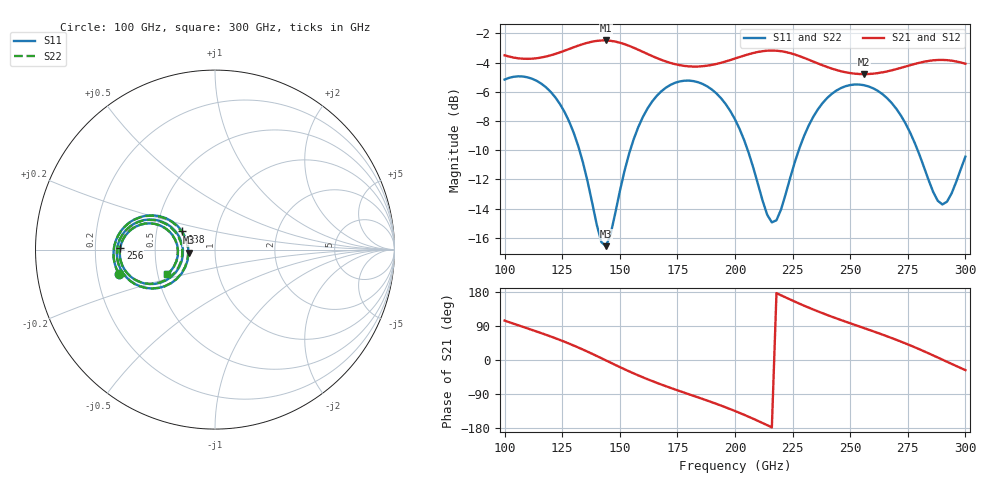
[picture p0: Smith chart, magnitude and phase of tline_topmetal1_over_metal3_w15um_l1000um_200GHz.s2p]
#  GHZ S DB R 50
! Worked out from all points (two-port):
!   101 points, 100 GHz to 300 GHz, reference 50 ohm
!   highest |S21| = -2.48 dB at 144 GHz (marker M1); lowest = -4.8 dB at 256 GHz (marker M2)
!   |S21| within 3 dB of the highest: start of sweep to end of sweep
!   lowest |S11| = -16.6 dB at 144 GHz (marker M3), VSWR 1.35, Z = 37.1 - j1.27 ohm
!   |S11| at or under -10 dB: 132.5 GHz to 154.5 GHz (22.05 GHz wide, 15.4 % of centre); 205.5 GHz to 227.7 GHz (22.17 GHz wide, 10.2 % of centre); 279.3 GHz to end of sweep
!   |S22| runs from -16.5 to -4.9 dB; largest |S21 - S12| = 8.6e-14
!   S11 on the Smith chart (normalised r, x): 100 GHz: 0.29, -0.11; 138 GHz: 0.68, +0.14; 256 GHz: 0.31, +0.01; 300 GHz: 0.56, -0.17
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100  -5.16 -165.7  -3.50 104.0  -3.50 104.0  -5.16 -165.6
108  -4.95 -178.7  -3.74 87.4  -3.74 87.4  -4.95 -178.6
116  -5.45 168.7  -3.65 70.7  -3.65 70.7  -5.44 168.9
126  -7.38 153.8  -3.19 48.1  -3.19 48.1  -7.37 154.1
134  -10.84 146.8  -2.73 27.5  -2.73 27.5  -10.81 147.2
138  -13.60 151.1  -2.57 16.3  -2.57 16.3  -13.54 151.6
142  -16.30 170.6  -2.49 4.7  -2.49 4.7  -16.19 171.0
144  -16.58 -173.5  -2.48 -1.1  -2.48 -1.1  -16.45 -173.5
156  -9.26 -143.8  -2.98 -35.3  -2.98 -35.3  -9.24 -143.9
168  -5.97 -159.7  -3.81 -64.7  -3.81 -64.7  -5.96 -159.7
184  -5.35 176.6  -4.27 -98.8  -4.27 -98.8  -5.34 176.7
200  -7.89 155.4  -3.72 -134.6  -3.72 -134.6  -7.86 155.8
210  -12.34 155.2  -3.27 -160.8  -3.27 -160.8  -12.25 155.8
216  -14.95 178.9  -3.17 -177.8  -3.17 -177.8  -14.76 179.0
224  -11.87 -149.7  -3.35 159.5  -3.35 159.5  -11.78 -150.2
234  -7.71 -152.2  -3.93 133.2  -3.93 133.2  -7.68 -152.5
246  -5.74 -167.6  -4.59 105.5  -4.59 105.5  -5.73 -167.8
256  -5.55 178.9  -4.79 84.2  -4.79 84.2  -5.54 178.8
268  -6.77 163.8  -4.53 58.0  -4.53 58.0  -6.75 163.7
278  -9.50 156.2  -4.09 33.6  -4.09 33.6  -9.48 156.3
290  -13.72 -178.6  -3.82 1.0  -3.82 1.0  -13.68 -178.7
300  -10.44 -152.7  -4.08 -26.6  -4.08 -26.6  -10.43 -152.8
